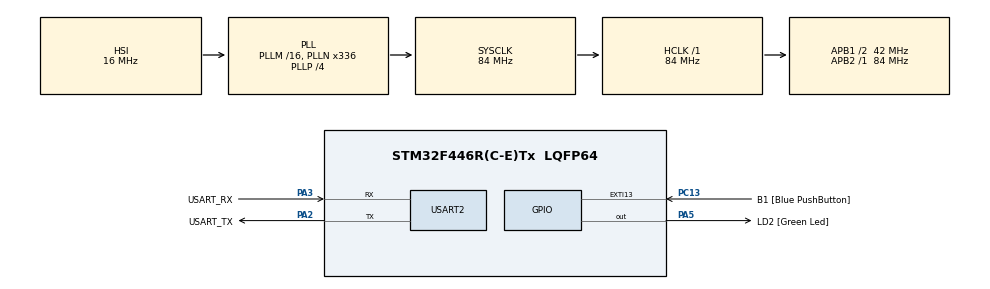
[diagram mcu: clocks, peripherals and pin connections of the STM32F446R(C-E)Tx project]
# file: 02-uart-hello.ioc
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Mcu.Family=STM32F4
Mcu.Name=STM32F446R(C-E)Tx
Mcu.Package=LQFP64
NVIC.PriorityGroup=NVIC_PRIORITYGROUP_0
PA13.GPIO_Label=TMS
PA13.Mode=Serial_Wire
PA13.Signal=SYS_JTMS-SWDIO
PA14.GPIO_Label=TCK
PA14.Mode=Serial_Wire
PA14.Signal=SYS_JTCK-SWCLK
PA2.GPIO_Label=USART_TX
PA2.Mode=Asynchronous
PA2.Signal=USART2_TX
PA3.GPIO_Label=USART_RX
PA3.Mode=Asynchronous
PA3.Signal=USART2_RX
PA5.GPIO_Label=LD2 [Green Led]
PA5.Signal=GPIO_Output
PB3.GPIO_Label=SWO
PB3.Signal=SYS_JTDO-SWO
PC13.GPIO_Label=B1 [Blue PushButton]
PC13.GPIO_ModeDefaultEXTI=GPIO_MODE_IT_FALLING
PC13.Signal=GPXTI13
PC14-OSC32_IN.Mode=LSE-External-Oscillator
PC14-OSC32_IN.Signal=RCC_OSC32_IN
PC15-OSC32_OUT.Mode=LSE-External-Oscillator
PC15-OSC32_OUT.Signal=RCC_OSC32_OUT
PH0-OSC_IN.Mode=HSE-External-Oscillator
PH0-OSC_IN.Signal=RCC_OSC_IN
PH1-OSC_OUT.Mode=HSE-External-Oscillator
PH1-OSC_OUT.Signal=RCC_OSC_OUT
ProjectManager.HeapSize=0x200
ProjectManager.StackSize=0x400
ProjectManager.TargetToolchain=STM32CubeIDE
RCC.48MHZClocksFreq_Value=84000000
RCC.AHBFreq_Value=84000000
RCC.APB1CLKDivider=RCC_HCLK_DIV2
RCC.APB1Freq_Value=42000000
RCC.APB1TimFreq_Value=84000000
RCC.APB2Freq_Value=84000000
RCC.APB2TimFreq_Value=84000000
RCC.CortexFreq_Value=84000000
RCC.FLatency-AdvancedSettings=FLASH_LATENCY_2
RCC.HCLKFreq_Value=84000000
RCC.HSE_VALUE=8000000
RCC.HSI_VALUE=16000000
RCC.PLLN=336
RCC.PLLP=RCC_PLLP_DIV4
RCC.SYSCLKFreq_VALUE=84000000
RCC.SYSCLKSource=RCC_SYSCLKSOURCE_PLLCLK
RCC.USBFreq_Value=168000000
RCC.VCOOutputFreq_Value=336000000
USART2.VirtualMode=VM_ASYNC
board=NUCLEO-F446RE

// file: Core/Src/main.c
/* USER CODE BEGIN Header */
/**
  ******************************************************************************
  * @file           : main.c
  * @brief          : Main program body
  ******************************************************************************
  * @attention
  *
  * Copyright (c) 2026 STMicroelectronics.
  * All rights reserved.
  *
  * This software is licensed under terms that can be found in the LICENSE file
  * in the root directory of this software component.
  * If no LICENSE file comes with this software, it is provided AS-IS.
  *
  ******************************************************************************
  */
/* USER CODE END Header */
#include "main.h"

/* USER CODE BEGIN Includes */
#include <stdio.h>
/* USER CODE END Includes */

UART_HandleTypeDef huart2;

void SystemClock_Config(void);
static void MX_GPIO_Init(void);
static void MX_USART2_UART_Init(void);

int main(void)
{

  /* MCU Configuration--------------------------------------------------------*/

  /* Reset of all peripherals, Initializes the Flash interface and the Systick. */
  HAL_Init();

  /* Configure the system clock */
  SystemClock_Config();

  /* Initialize all configured peripherals */
  MX_GPIO_Init();
  MX_USART2_UART_Init();
  /* USER CODE BEGIN 2 */
  printf("\r\nBoard started\r\n");
  printf("\r\nType something and press Enter:\r\n");
  char line[64];
  int idx = 0;
  /* USER CODE END 2 */

  /* Infinite loop */
  while (1)
  {
    /* USER CODE BEGIN 3 */
	  uint8_t ch;

	  if(HAL_UART_Receive(&huart2, &ch, 1, HAL_MAX_DELAY) == HAL_OK)
	  {
		  HAL_UART_Transmit(&huart2, &ch, 1, HAL_MAX_DELAY);  // echo

		  if(ch == '\r')
		  {
			  line[idx] = '\0';  // terminate the string
			  printf("\r\nYou typed: %s\r\n", line);
			  idx = 0;
		  }
		  else if(idx < sizeof(line) - 1)
			  line[idx++] = ch;  // store the character
	  }
  }
  /* USER CODE END 3 */
}

void SystemClock_Config(void)
{
  RCC_OscInitTypeDef RCC_OscInitStruct = {0};
  RCC_ClkInitTypeDef RCC_ClkInitStruct = {0};

  /** Configure the main internal regulator output voltage
  */
  __HAL_RCC_PWR_CLK_ENABLE();
  __HAL_PWR_VOLTAGESCALING_CONFIG(PWR_REGULATOR_VOLTAGE_SCALE3);

  /** Initializes the RCC Oscillators according to the specified parameters
  * in the RCC_OscInitTypeDef structure.
  */
  RCC_OscInitStruct.OscillatorType = RCC_OSCILLATORTYPE_HSI;
  RCC_OscInitStruct.HSIState = RCC_HSI_ON;
  RCC_OscInitStruct.HSICalibrationValue = RCC_HSICALIBRATION_DEFAULT;
  RCC_OscInitStruct.PLL.PLLState = RCC_PLL_ON;
  RCC_OscInitStruct.PLL.PLLSource = RCC_PLLSOURCE_HSI;
  RCC_OscInitStruct.PLL.PLLM = 16;
  RCC_OscInitStruct.PLL.PLLN = 336;
  RCC_OscInitStruct.PLL.PLLP = RCC_PLLP_DIV4;
  RCC_OscInitStruct.PLL.PLLQ = 2;
  RCC_OscInitStruct.PLL.PLLR = 2;
  if (HAL_RCC_OscConfig(&RCC_OscInitStruct) != HAL_OK)
  {
    Error_Handler();
  }

  /** Initializes the CPU, AHB and APB buses clocks
  */
  RCC_ClkInitStruct.ClockType = RCC_CLOCKTYPE_HCLK|RCC_CLOCKTYPE_SYSCLK
                              |RCC_CLOCKTYPE_PCLK1|RCC_CLOCKTYPE_PCLK2;
  RCC_ClkInitStruct.SYSCLKSource = RCC_SYSCLKSOURCE_PLLCLK;
  RCC_ClkInitStruct.AHBCLKDivider = RCC_SYSCLK_DIV1;
  RCC_ClkInitStruct.APB1CLKDivider = RCC_HCLK_DIV2;
  RCC_ClkInitStruct.APB2CLKDivider = RCC_HCLK_DIV1;

  if (HAL_RCC_ClockConfig(&RCC_ClkInitStruct, FLASH_LATENCY_2) != HAL_OK)
  {
    Error_Handler();
  }
}

static void MX_USART2_UART_Init(void)
{

  huart2.Instance = USART2;
  huart2.Init.BaudRate = 115200;
  huart2.Init.WordLength = UART_WORDLENGTH_8B;
  huart2.Init.StopBits = UART_STOPBITS_1;
  huart2.Init.Parity = UART_PARITY_NONE;
  huart2.Init.Mode = UART_MODE_TX_RX;
  huart2.Init.HwFlowCtl = UART_HWCONTROL_NONE;
  huart2.Init.OverSampling = UART_OVERSAMPLING_16;
  if (HAL_UART_Init(&huart2) != HAL_OK)
  {
    Error_Handler();
  }

}

static void MX_GPIO_Init(void)
{
  GPIO_InitTypeDef GPIO_InitStruct = {0};

  /* GPIO Ports Clock Enable */
  __HAL_RCC_GPIOC_CLK_ENABLE();
  __HAL_RCC_GPIOH_CLK_ENABLE();
  __HAL_RCC_GPIOA_CLK_ENABLE();
  __HAL_RCC_GPIOB_CLK_ENABLE();

  /*Configure GPIO pin Output Level */
  HAL_GPIO_WritePin(LD2_GPIO_Port, LD2_Pin, GPIO_PIN_RESET);

  /*Configure GPIO pin : B1_Pin */
  GPIO_InitStruct.Pin = B1_Pin;
  GPIO_InitStruct.Mode = GPIO_MODE_IT_FALLING;
  GPIO_InitStruct.Pull = GPIO_NOPULL;
  HAL_GPIO_Init(B1_GPIO_Port, &GPIO_InitStruct);

  /*Configure GPIO pin : LD2_Pin */
  GPIO_InitStruct.Pin = LD2_Pin;
  GPIO_InitStruct.Mode = GPIO_MODE_OUTPUT_PP;
  GPIO_InitStruct.Pull = GPIO_NOPULL;
  GPIO_InitStruct.Speed = GPIO_SPEED_FREQ_LOW;
  HAL_GPIO_Init(LD2_GPIO_Port, &GPIO_InitStruct);

}

/* USER CODE BEGIN 4 */
int _write(int file, char *ptr, int len)
{
	HAL_UART_Transmit(&huart2, (uint8_t *)ptr, len, HAL_MAX_DELAY);
	return len;
}
/* USER CODE END 4 */

void Error_Handler(void)
{
  __disable_irq();
  while (1)
  {
  }
}
